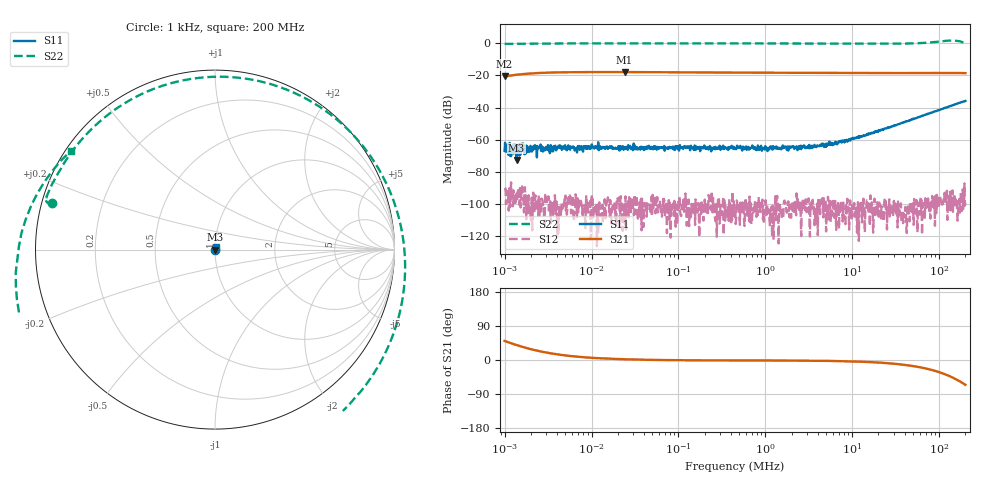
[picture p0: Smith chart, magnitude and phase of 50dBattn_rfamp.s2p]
! ListType=Log
# MHZ S RI R 50
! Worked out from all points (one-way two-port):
!   1000 points, 1 kHz to 200 MHz, reference 50 ohm
!   highest |S21| = -17.91 dB at 23.97 kHz (marker M1); lowest = -20.7 dB at 1 kHz (marker M2)
!   lowest |S11| = -72.6 dB at 1.374 kHz (marker M3), VSWR 1.00, Z = 50 - j0.00458 ohm
!   |S11| at or under -10 dB: start of sweep to end of sweep
!   |S22| runs from -0.5 to 1.7 dB; largest |S21 - S12| = 0.13
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0.001  -0.000455 5.48e-05  0.0589 0.0708  -1.15e-05 -2.99e-05  -0.9089 0.26
0.0013739  -0.000231 -4.58e-05  0.0806 0.0662  1.33e-05 1.64e-05  -0.9162 0.2575
0.0076941  -0.000541 -7.08e-05  0.1248 0.0169  -2.1e-06 8.4e-06  -0.9422 0.2759
0.0239689  -0.000519 6.43e-05  0.1272 0.00438  -3.4e-06 -2.8e-06  -0.9432 0.2849
0.0584804  -0.00052 6.2e-05  0.1252 6.81e-05  1.1e-06 -7.5e-06  -0.9406 0.2882
0.4499541  -0.000538 5.85e-05  0.1215 -0.00231  1.8e-06 7.1e-06  -0.9349 0.303
3.419952  -0.000484 0.000281  0.1191 -0.00377  -1.8e-06 -7.2e-06  -0.8867 0.4028
12.03851  -0.00039 0.00109  0.1176 -0.00886  -7.5e-06 -3e-07  -0.7122 0.6466
18.46267  -0.000389 0.00169  0.117 -0.0128  1.7e-06 -4.3e-06  -0.5466 0.7874
26.31347  -0.000161 0.00242  0.1163 -0.0177  3.6e-06 -3.5e-06  -0.3118 0.9064
38.43037  -4.26e-05 0.00347  0.1149 -0.0252  1.2e-06 -2.3e-06  0.0882 0.9611
50.9003  0.000199 0.0045  0.113 -0.033  -1e-07 -2.3e-06  0.4925 0.8486
64.99008  0.000528 0.00557  0.1102 -0.0418  6e-06 -3.9e-06  0.8567 0.5339
81.97236  0.000973 0.00687  0.106 -0.0523  5.3e-06 -7.1e-06  1.057 -0.0223
92.62555  0.00132 0.00765  0.1028 -0.0587  -3.4e-06 -4.1e-06  1.016 -0.4025
103.3922  0.00163 0.00858  0.099 -0.065  -9.6e-06 -1.12e-05  0.8402 -0.7545
116.8291  0.00216 0.00951  0.0937 -0.0725  1.25e-05 -4.9e-06  0.4616 -1.075
128.8255  0.00256 0.0104  0.0885 -0.0788  -1.25e-05 -1.01e-05  0.0311 -1.195
145.5678  0.00314 0.0116  0.0803 -0.0871  5.8e-06 -1.22e-05  -0.5687 -1.06
164.4859  0.00399 0.0131  0.07 -0.0951  4.6e-06 -3.3e-06  -1.028 -0.5582
179.1732  0.00471 0.0139  0.061 -0.1011  -1.87e-05 -8.8e-06  -1.102 -0.0581
200  0.00546 0.0151  0.0485 -0.1064  -1.29e-05 -6.6e-06  -0.8026 0.5506
